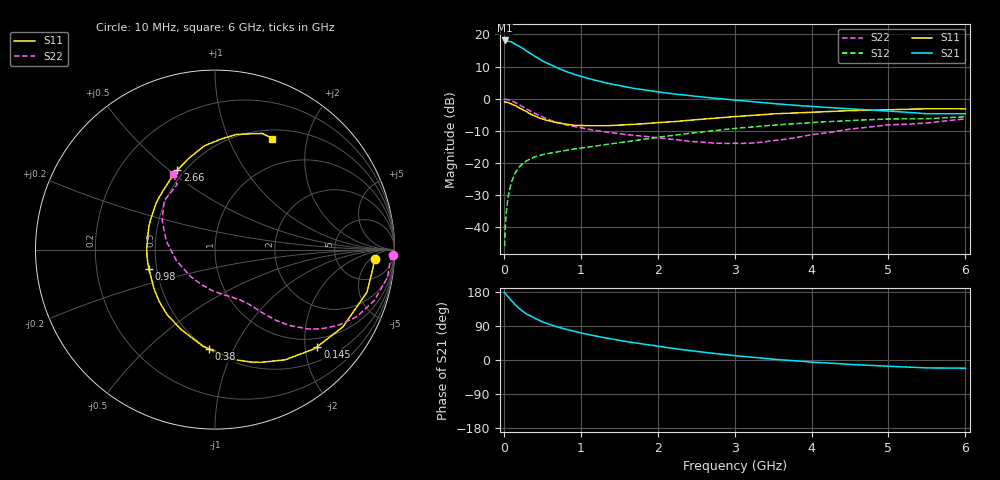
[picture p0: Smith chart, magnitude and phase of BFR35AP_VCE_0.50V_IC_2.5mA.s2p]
! Infineon Technologies  Discrete & RF Semiconductors
! BFR35AP
! VCE = 0.50 V,  IC =  2.5 mA
! Common Emitter S-Parameters:  Nov 2015
# GHz  S  MA  R  50
!  f  S11  S21  S12  S22
! GHz  MAG  ANG  MAG  ANG  MAG  ANG  MAG  ANG
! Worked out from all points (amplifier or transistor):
!   210 points, 10 MHz to 6 GHz, reference 50 ohm
!   highest |S21| = 18.1 dB at 10 MHz (marker M1)
!   |S21| within 3 dB of that: start of sweep to 278.7 MHz
!   unconditionally stable (mu >= 1): 904.6 MHz to end of sweep
!   at 185 MHz: K = 0.28, MSG = 19.1 dB, |S12| = -21.7 dB
!   at 1.52 GHz: K = 1.23, MAG = 5.9 dB, |S12| = -13.6 dB
!   at 6 GHz: K = 1.09, MAG = -1.4 dB, |S12| = -5.6 dB
!   S11 on the Smith chart (normalised r, x): 10 MHz: 14, -7; 145 MHz: 0.80, -2.27; 380 MHz: 0.51, -0.81; 980 MHz: 0.45, -0.12; 2.66 GHz: 0.46, +0.53; 6 GHz: 0.61, +1.46
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0.01  0.8903 -3.2  8.047 177.9  0.0051 88.6  0.9905 -1.8
0.025  0.8837 -8.0  7.955 173.8  0.013 85.6  0.9767 -4.6
0.05  0.8794 -15.6  7.897 168.0  0.0265 80.6  0.9736 -9.1
0.1  0.8327 -31.1  7.647 156.4  0.0504 72.3  0.9318 -17.7
0.145  0.7858 -43.4  7.107 146.4  0.0688 64.8  0.8785 -24.6
0.2  0.7279 -57.5  6.558 136.0  0.0869 58.8  0.81 -31.2
0.24  0.6805 -67.2  6.121 129.4  0.0965 54.5  0.756 -35.3
0.3  0.6236 -79.8  5.468 120.9  0.1093 49.8  0.6849 -40.3
0.38  0.5539 -93.3  4.748 112.7  0.1212 45.5  0.6112 -44.3
0.4  0.5421 -97.2  4.586 110.2  0.1243 44.6  0.5933 -45.5
0.5  0.4837 -112.9  3.883 100.8  0.1345 41.2  0.5199 -49.2
0.6  0.4508 -126.1  3.399 93.3  0.1423 39.5  0.4645 -51.9
0.8  0.4042 -147.1  2.669 81.3  0.1564 38.0  0.3937 -55.6
0.98  0.3836 -163.4  2.263 72.5  0.1691 37.7  0.356 -58.3
1.02  0.3823 -166.8  2.192 70.7  0.1717 37.7  0.3487 -59.1
1.4  0.3835 167.0  1.685 55.5  0.1992 37.9  0.2973 -66.9
2.02  0.4251 137.6  1.271 35.7  0.2531 37.1  0.2441 -84.0
2.66  0.4895 115.4  1.04 19.1  0.313 32.9  0.2076 -113.0
3.1  0.5365 104.2  0.927 9.7  0.3535 28.4  0.2019 -139.9
4.1  0.6232 85.3  0.745 -6.6  0.4325 16.6  0.285 165.7
5.1  0.6776 72.2  0.632 -17.4  0.4848 3.9  0.3961 132.7
6  0.6963 62.7  0.583 -21.6  0.5236 -4.9  0.4853 119.2
